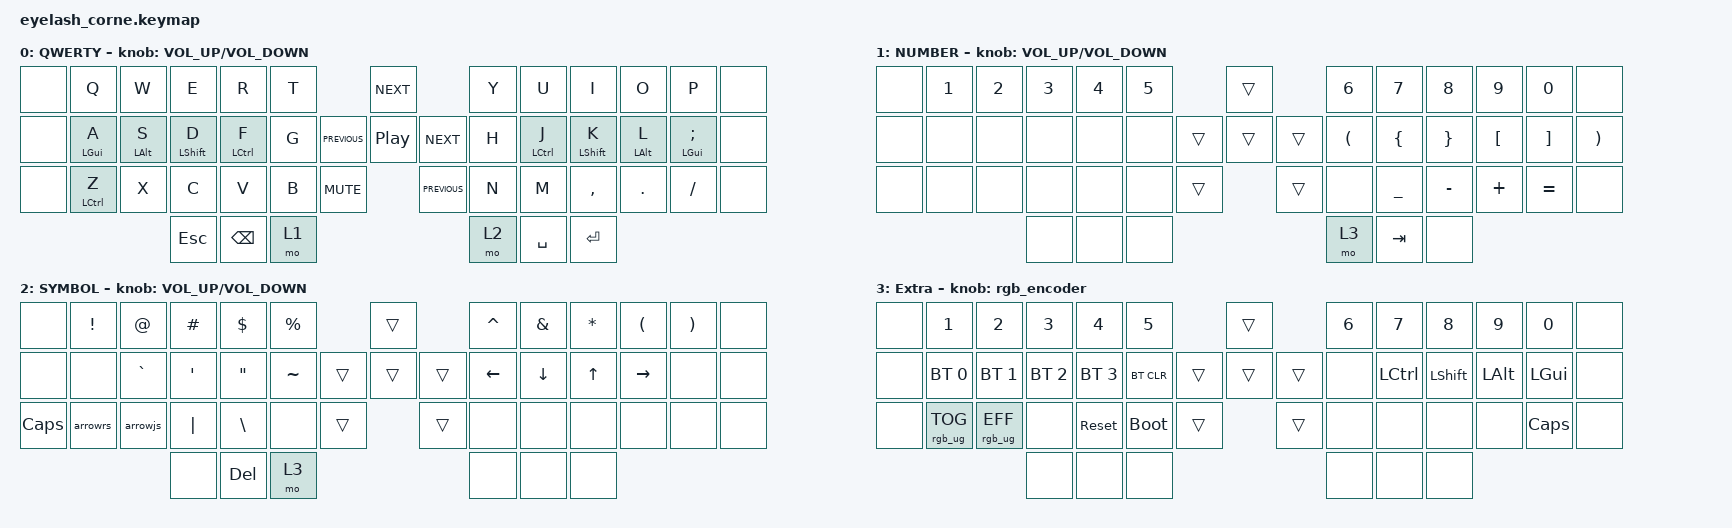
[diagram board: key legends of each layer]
#define ZMK_POINTING_DEFAULT_MOVE_VAL 1200  // 600
#define ZMK_POINTING_DEFAULT_SCRL_VAL 25   // 10

#include <input/processors.dtsi>
#include <zephyr/dt-bindings/input/input-event-codes.h>
#include <behaviors.dtsi>
#include <dt-bindings/zmk/bt.h>
#include <dt-bindings/zmk/keys.h>
#include <dt-bindings/zmk/pointing.h>
#include <dt-bindings/zmk/rgb.h>

&mmv_input_listener { input-processors = <&zip_xy_scaler 2 1>; };

&msc_input_listener { input-processors = <&zip_scroll_scaler 2 1>; };

&msc {
    acceleration-exponent = <1>;      // 0
    time-to-max-speed-ms = <100>;       // 300
    delay-ms = <0>;                   // 0
};

&mmv {
    time-to-max-speed-ms = <500>;
    acceleration-exponent = <1>;
    trigger-period-ms = <16>;
};

&soft_off { hold-time-ms = <2000>; };

/ {
    behaviors {
        td0: td0 {
            compatible = "zmk,behavior-tap-dance";
            display-name = "Shift/Caps Lock Tap Dance";
            #binding-cells = <0>;
            bindings = <&kp LEFT_SHIFT>, <&kp CAPS>;
        };

        hml: home_row_mod_left {
            compatible = "zmk,behavior-hold-tap";
            label = "HML";
            bindings = <&kp>, <&kp>;

            #binding-cells = <2>;
            quick-tap-ms = <175>;
            require-prior-idle-ms = <120>;
            flavor = "balanced";
            hold-trigger-on-release;
            tapping-term-ms = <150>;
            hold-trigger-key-positions = <7 8 9 11 10 12 27 41 40 39 38 37 36 22 23 24 25 26>;
        };

        hmr: home_row_mod_right {
            compatible = "zmk,behavior-hold-tap";
            label = "HMR";
            bindings = <&kp>, <&kp>;

            #binding-cells = <2>;
            quick-tap-ms = <175>;
            require-prior-idle-ms = <120>;
            flavor = "balanced";
            hold-trigger-on-release;
            tapping-term-ms = <150>;
            hold-trigger-key-positions = <0 1 5 13 14 15 16 17 18 28 29 30 31 32 33 0 1 2 3 4 5 13 14 15 16 17 18>;
        };
    };

    rgb_encoder: rgb_encoder {
        compatible = "zmk,behavior-sensor-rotate";
        #sensor-binding-cells = <0>;
        bindings = <&rgb_ug RGB_BRI>, <&rgb_ug RGB_BRD>;
    };

    scroll_encoder: scroll_encoder {
        compatible = "zmk,behavior-sensor-rotate";
        #sensor-binding-cells = <0>;
        bindings = <&msc SCRL_DOWN>, <&msc SCRL_UP>;

        tap-ms = <100>;
    };

    combos { compatible = "zmk,combos"; };

    macros {
        arrowrs: arrowrs {
            compatible = "zmk,behavior-macro";
            #binding-cells = <0>;
            bindings = <&kp MINUS &kp GREATER_THAN>;
            label = "ARROWRS";
        };

        arrowjs: arrowjs {
            compatible = "zmk,behavior-macro";
            #binding-cells = <0>;
            bindings = <&kp EQUAL &kp GREATER_THAN>;
            label = "ARROWJS";
        };
    };

    keymap {
        compatible = "zmk,keymap";

        default_layer {
            display-name = "QWERTY";
            bindings = <
&none  &kp Q            &kp W            &kp E              &kp R         &kp T                                &kp C_NEXT                    &kp Y  &kp U         &kp I              &kp O            &kp P                    &none
&none  &hml LEFT_GUI A  &hml LEFT_ALT S  &hml LEFT_SHIFT D  &hml LCTRL F  &kp G                &kp C_PREVIOUS  &kp C_PLAY_PAUSE  &kp C_NEXT  &kp H  &hmr LCTRL J  &hmr LEFT_SHIFT K  &hmr LEFT_ALT L  &hmr LEFT_GUI SEMICOLON  &none
&none  &mt LCTRL Z      &kp X            &kp C              &kp V         &kp B  &kp C_MUTE                    &kp C_PREVIOUS                &kp N  &kp M         &kp COMMA          &kp DOT          &kp FSLH                 &none
                                         &kp ESC            &kp BSPC      &mo 1                                                              &mo 2  &kp SPACE     &kp RET
            >;

            sensor-bindings = <&inc_dec_kp C_VOLUME_UP C_VOLUME_DOWN>;
        };

        number_layer {
            display-name = "NUMBER";
            bindings = <
&none  &kp N1  &kp N2  &kp N3  &kp N4  &kp N5                    &trans          &kp N6                &kp N7          &kp N8           &kp N9    &kp N0     &none
&none  &none   &none   &none   &none   &none             &trans  &trans  &trans  &kp LEFT_PARENTHESIS  &kp LEFT_BRACE  &kp RIGHT_BRACE  &kp LBKT  &kp RBKT   &kp RIGHT_PARENTHESIS
&none  &none   &none   &none   &none   &none   &trans            &trans          &none                 &kp UNDERSCORE  &kp MINUS        &kp PLUS  &kp EQUAL  &none
                       &none   &none   &none                                     &mo 3                 &kp TAB         &none
            >;

            sensor-bindings = <&inc_dec_kp C_VOLUME_UP C_VOLUME_DOWN>;
        };

        symbol_layer {
            display-name = "SYMBOL";
            bindings = <
&none         &kp EXCL  &kp AT     &kp HASH          &kp DLLR           &kp PRCNT                    &trans          &kp CARET  &kp AMPS  &kp ASTRK  &kp LPAR   &kp RPAR  &none
&none         &none     &kp GRAVE  &kp SINGLE_QUOTE  &kp DOUBLE_QUOTES  &kp TILDE            &trans  &trans  &trans  &kp LEFT   &kp DOWN  &kp UP     &kp RIGHT  &none     &none
&kp CAPSLOCK  &arrowrs  &arrowjs   &kp PIPE          &kp BACKSLASH      &none      &trans            &trans          &none      &none     &none      &none      &none     &none
                                   &none             &kp DEL            &mo 3                                        &none      &none     &none
            >;

            sensor-bindings = <&inc_dec_kp C_VOLUME_UP C_VOLUME_DOWN>;
        };

        extra_layer {
            display-name = "Extra";
            bindings = <
&none  &kp N1           &kp N2           &kp N3        &kp N4        &kp N5                         &trans          &kp N6  &kp N7     &kp N8     &kp N9    &kp N0    &none
&none  &bt BT_SEL 0     &bt BT_SEL 1     &bt BT_SEL 2  &bt BT_SEL 3  &bt BT_CLR             &trans  &trans  &trans  &none   &kp LCTRL  &kp LSHFT  &kp LALT  &kp LGUI  &none
&none  &rgb_ug RGB_TOG  &rgb_ug RGB_EFF  &none         &sys_reset    &bootloader  &trans            &trans          &none   &none      &none      &none     &kp CAPS  &none
                                         &none         &none         &none                                          &none   &none      &none
            >;

            sensor-bindings = <&rgb_encoder>;
        };
    };
};
